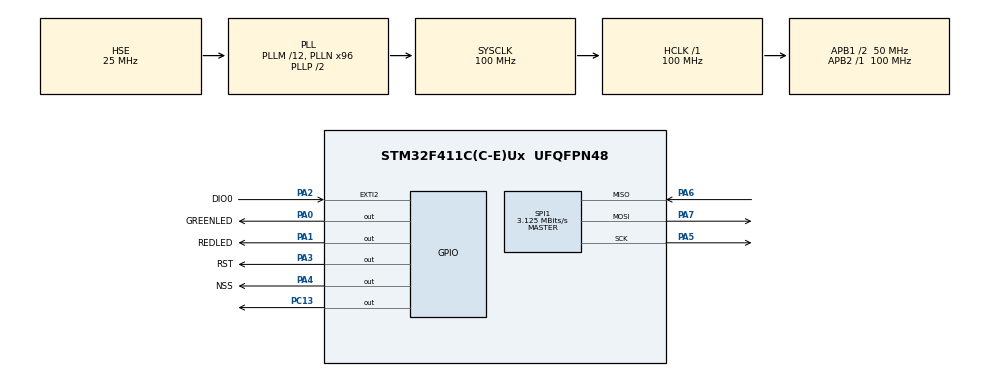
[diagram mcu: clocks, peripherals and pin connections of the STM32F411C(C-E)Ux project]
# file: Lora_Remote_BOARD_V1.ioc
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Mcu.Family=STM32F4
Mcu.Name=STM32F411C(C-E)Ux
Mcu.Package=UFQFPN48
NVIC.EXTI2_IRQn=true\:0\:0\:false\:false\:true\:true\:true\:true
NVIC.PriorityGroup=NVIC_PRIORITYGROUP_4
NVIC.TIM4_IRQn=true\:0\:0\:false\:false\:true\:true\:true\:true
PA0-WKUP.GPIO_Label=GREENLED
PA0-WKUP.Signal=GPIO_Output
PA1.GPIO_Label=REDLED
PA1.Signal=GPIO_Output
PA13.Mode=Serial_Wire
PA13.Signal=SYS_JTMS-SWDIO
PA14.Mode=Serial_Wire
PA14.Signal=SYS_JTCK-SWCLK
PA2.GPIO_Label=DIO0
PA2.Signal=GPXTI2
PA3.GPIO_Label=RST
PA3.PinState=GPIO_PIN_SET
PA3.Signal=GPIO_Output
PA4.GPIO_Label=NSS
PA4.PinState=GPIO_PIN_SET
PA4.Signal=GPIO_Output
PA5.Mode=Full_Duplex_Master
PA5.Signal=SPI1_SCK
PA6.Mode=Full_Duplex_Master
PA6.Signal=SPI1_MISO
PA7.Mode=Full_Duplex_Master
PA7.Signal=SPI1_MOSI
PC13-ANTI_TAMP.Signal=GPIO_Output
PH0\ -\ OSC_IN.Mode=HSE-External-Oscillator
PH0\ -\ OSC_IN.Signal=RCC_OSC_IN
PH1\ -\ OSC_OUT.Mode=HSE-External-Oscillator
PH1\ -\ OSC_OUT.Signal=RCC_OSC_OUT
ProjectManager.HeapSize=0x200
ProjectManager.StackSize=0x400
ProjectManager.TargetToolchain=STM32CubeIDE
RCC.48MHZClocksFreq_Value=50000000
RCC.AHBFreq_Value=100000000
RCC.APB1CLKDivider=RCC_HCLK_DIV2
RCC.APB1Freq_Value=50000000
RCC.APB1TimFreq_Value=100000000
RCC.APB2Freq_Value=100000000
RCC.APB2TimFreq_Value=100000000
RCC.CortexFreq_Value=100000000
RCC.HCLKFreq_Value=100000000
RCC.HSE_VALUE=25000000
RCC.HSI_VALUE=16000000
RCC.LSE_VALUE=32768
RCC.PLLM=12
RCC.PLLN=96
RCC.PLLSourceVirtual=RCC_PLLSOURCE_HSE
RCC.SYSCLKFreq_VALUE=100000000
RCC.SYSCLKSource=RCC_SYSCLKSOURCE_PLLCLK
RCC.VCOOutputFreq_Value=200000000
SPI1.BaudRatePrescaler=SPI_BAUDRATEPRESCALER_32
SPI1.CalculateBaudRate=3.125 MBits/s
SPI1.Direction=SPI_DIRECTION_2LINES
SPI1.Mode=SPI_MODE_MASTER
SPI1.VirtualType=VM_MASTER
TIM4.AutoReloadPreload=TIM_AUTORELOAD_PRELOAD_ENABLE
TIM4.ClockDivision=TIM_CLOCKDIVISION_DIV1
TIM4.Period=32000-1
TIM4.Prescaler=320-1
VP_TIM4_VS_ClockSourceINT.Mode=Internal
board=custom

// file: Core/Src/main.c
/* USER CODE BEGIN Header */
/**
  ******************************************************************************
  * @file           : main.c
  * @brief          : Main program body
  ******************************************************************************
  * @attention
  *
  * Copyright (c) 2024 STMicroelectronics.
  * All rights reserved.
  *
  * This software is licensed under terms that can be found in the LICENSE file
  * in the root directory of this software component.
  * If no LICENSE file comes with this software, it is provided AS-IS.
  *
  ******************************************************************************
  */
/* USER CODE END Header */
#include "main.h"

/* USER CODE BEGIN Includes */

#include "stm32_adafruit_lcd.h"
#include "lcd.h"

#include "LoRa.h"

/* USER CODE END Includes */

SPI_HandleTypeDef hspi1;

TIM_HandleTypeDef htim4;

/* USER CODE BEGIN PV */

uint8_t test_buffer[32] = "hello how are yoy";

float last_x;

LoRa myLoRa;

uint16_t LoRa_stat = 0;

uint8_t TxBuffer[128];
uint8_t RxBuffer[128];

uint8_t check_connectivity_tick = 0;
uint8_t receive_tick = 0;

uint8_t front_line_sensor_buffer[10];
uint8_t front_line_display_buffer[30];

uint8_t back_line_sensor_buffer[10];
uint8_t back_line_display_buffer[30];

uint8_t last_buffer[32];

uint16_t tval = 0;

/* USER CODE END PV */

void SystemClock_Config(void);
static void MX_GPIO_Init(void);
static void MX_SPI1_Init(void);
static void MX_TIM4_Init(void);

/* USER CODE BEGIN 0 */

void HAL_TIM_PeriodElapsedCallback(TIM_HandleTypeDef *htim)
{
 if(htim->Instance == TIM4)
	{
	 	 check_connectivity_tick = 255;
	}
}

void HAL_GPIO_EXTI_Callback(uint16_t GPIO_Pin)
{
	if(GPIO_Pin == myLoRa.DIO0_pin){
		LoRa_receive(&myLoRa, RxBuffer, 128);
		HAL_GPIO_TogglePin(GREENLED_GPIO_Port, GREENLED_Pin);
		receive_tick = 255;
	}
}

/* USER CODE END 0 */

int main(void)
{

  /* MCU Configuration--------------------------------------------------------*/

  /* Reset of all peripherals, Initializes the Flash interface and the Systick. */
  HAL_Init();

  /* Configure the system clock */
  SystemClock_Config();

  /* Initialize all configured peripherals */
  MX_GPIO_Init();
  MX_SPI1_Init();
  MX_TIM4_Init();
  /* USER CODE BEGIN 2 */

  HAL_TIM_Base_Start_IT(&htim4);

  BSP_LCD_Init();

  myLoRa = newLoRa();

  myLoRa.CS_port         = NSS_GPIO_Port;
  myLoRa.CS_pin          = NSS_Pin;
  myLoRa.reset_port      = RST_GPIO_Port;
  myLoRa.reset_pin       = RST_Pin;
  myLoRa.DIO0_port       = DIO0_GPIO_Port;
  myLoRa.DIO0_pin        = DIO0_Pin;
  myLoRa.hSPIx           = &hspi1;

  myLoRa.frequency             = 433;             // default = 433 MHz
  myLoRa.spredingFactor        = SF_7;            // default = SF_7
  myLoRa.bandWidth             = BW_125KHz;       // default = BW_125KHz
  myLoRa.crcRate               = CR_4_5;          // default = CR_4_5
  myLoRa.power                 = POWER_20db;      // default = 20db
  myLoRa.overCurrentProtection = 100;             // default = 100 mA
  myLoRa.preamble              = 8;              // default = 8;

  if(LoRa_init(&myLoRa) == LORA_OK){
	  LoRa_stat = 1;
  }

  LoRa_startReceiving(&myLoRa);

  TxBuffer[0] = 45;
  TxBuffer[1] = 0xF2;
  TxBuffer[2] = 'G';

  LoRa_transmit(&myLoRa, TxBuffer, 3, 500);

  /* USER CODE END 2 */

  /* Infinite loop */
  /* USER CODE BEGIN WHILE */

  BSP_LCD_Clear(0x0);

  //HAL_GPIO_TogglePin(REDLED_GPIO_Port, REDLED_Pin);

  while (1)
  {

	  if(check_connectivity_tick == 255){
		  TxBuffer[0] = 0xAA;
		  TxBuffer[1] = 0xBB;
		  TxBuffer[2] = 0xCC;
		  if(LoRa_transmit(&myLoRa, TxBuffer, 3, 500) == 1){
			  HAL_GPIO_TogglePin(REDLED_GPIO_Port, REDLED_Pin);
		  }
		  check_connectivity_tick = 0;
	  }
	  if(receive_tick == 255){
//		  front_line_sensor_buffer[0] = RxBuffer[4];
//		  front_line_sensor_buffer[1] = RxBuffer[5];
//		  front_line_sensor_buffer[2] = RxBuffer[6];
//		  front_line_sensor_buffer[3] = RxBuffer[7];
//		  front_line_sensor_buffer[4] = RxBuffer[8];
//		  front_line_sensor_buffer[5] = RxBuffer[9];
//		  front_line_sensor_buffer[6] = RxBuffer[10];
//		  front_line_sensor_buffer[7] = RxBuffer[11];
//		  front_line_sensor_buffer[8] = RxBuffer[12];
//		  front_line_sensor_buffer[9] = RxBuffer[13];
//
//		  back_line_sensor_buffer[0] = RxBuffer[16];
//		  back_line_sensor_buffer[1] = RxBuffer[17];
//		  back_line_sensor_buffer[2] = RxBuffer[18];
//		  back_line_sensor_buffer[3] = RxBuffer[19];
//		  back_line_sensor_buffer[4] = RxBuffer[20];
//		  back_line_sensor_buffer[5] = RxBuffer[21];
//		  back_line_sensor_buffer[6] = RxBuffer[22];
//		  back_line_sensor_buffer[7] = RxBuffer[23];
//		  back_line_sensor_buffer[8] = RxBuffer[24];
//		  back_line_sensor_buffer[9] = RxBuffer[25];

		  receive_tick = 0;
	  }

	  BSP_LCD_SetFont(&Font16);

	  BSP_LCD_SetTextColor(LCD_COLOR_GREEN);
	  sprintf(front_line_display_buffer, "F00F|%d|%d|%d|%d|%d|%d|%d|%d|%d|%d|", front_line_sensor_buffer[0],
			  	  	  	  	  	  	  	  	  	  	  	  	  	  	  	  	  	front_line_sensor_buffer[1],
																				front_line_sensor_buffer[2],
																				front_line_sensor_buffer[3],
																				front_line_sensor_buffer[4],
																				front_line_sensor_buffer[5],
																				front_line_sensor_buffer[6],
																				front_line_sensor_buffer[7],
																				front_line_sensor_buffer[8],
																				front_line_sensor_buffer[9]);
	  BSP_LCD_DisplayStringAt(40, 10, front_line_display_buffer, LEFT_MODE);

	  sprintf(back_line_display_buffer, "F11F|%d|%d|%d|%d|%d|%d|%d|%d|%d|%d|", back_line_sensor_buffer[0],
			  	  	  	  	  	  	  	  	  	  	  	  	  	  	  	  	   back_line_sensor_buffer[1],
																			   back_line_sensor_buffer[2],
																			   back_line_sensor_buffer[3],
																			   back_line_sensor_buffer[4],
																			   back_line_sensor_buffer[5],
																			   back_line_sensor_buffer[6],
																			   back_line_sensor_buffer[7],
																			   back_line_sensor_buffer[8],
																			   back_line_sensor_buffer[9]);
	  BSP_LCD_DisplayStringAt(40, 40, back_line_display_buffer, LEFT_MODE);

    /* USER CODE END WHILE */

  }
}

void SystemClock_Config(void)
{
  RCC_OscInitTypeDef RCC_OscInitStruct = {0};
  RCC_ClkInitTypeDef RCC_ClkInitStruct = {0};

  /** Configure the main internal regulator output voltage
  */
  __HAL_RCC_PWR_CLK_ENABLE();
  __HAL_PWR_VOLTAGESCALING_CONFIG(PWR_REGULATOR_VOLTAGE_SCALE1);

  /** Initializes the RCC Oscillators according to the specified parameters
  * in the RCC_OscInitTypeDef structure.
  */
  RCC_OscInitStruct.OscillatorType = RCC_OSCILLATORTYPE_HSE;
  RCC_OscInitStruct.HSEState = RCC_HSE_ON;
  RCC_OscInitStruct.PLL.PLLState = RCC_PLL_ON;
  RCC_OscInitStruct.PLL.PLLSource = RCC_PLLSOURCE_HSE;
  RCC_OscInitStruct.PLL.PLLM = 12;
  RCC_OscInitStruct.PLL.PLLN = 96;
  RCC_OscInitStruct.PLL.PLLP = RCC_PLLP_DIV2;
  RCC_OscInitStruct.PLL.PLLQ = 4;
  if (HAL_RCC_OscConfig(&RCC_OscInitStruct) != HAL_OK)
  {
    Error_Handler();
  }

  /** Initializes the CPU, AHB and APB buses clocks
  */
  RCC_ClkInitStruct.ClockType = RCC_CLOCKTYPE_HCLK|RCC_CLOCKTYPE_SYSCLK
                              |RCC_CLOCKTYPE_PCLK1|RCC_CLOCKTYPE_PCLK2;
  RCC_ClkInitStruct.SYSCLKSource = RCC_SYSCLKSOURCE_PLLCLK;
  RCC_ClkInitStruct.AHBCLKDivider = RCC_SYSCLK_DIV1;
  RCC_ClkInitStruct.APB1CLKDivider = RCC_HCLK_DIV2;
  RCC_ClkInitStruct.APB2CLKDivider = RCC_HCLK_DIV1;

  if (HAL_RCC_ClockConfig(&RCC_ClkInitStruct, FLASH_LATENCY_3) != HAL_OK)
  {
    Error_Handler();
  }
}

static void MX_SPI1_Init(void)
{

  /* SPI1 parameter configuration*/
  hspi1.Instance = SPI1;
  hspi1.Init.Mode = SPI_MODE_MASTER;
  hspi1.Init.Direction = SPI_DIRECTION_2LINES;
  hspi1.Init.DataSize = SPI_DATASIZE_8BIT;
  hspi1.Init.CLKPolarity = SPI_POLARITY_LOW;
  hspi1.Init.CLKPhase = SPI_PHASE_1EDGE;
  hspi1.Init.NSS = SPI_NSS_SOFT;
  hspi1.Init.BaudRatePrescaler = SPI_BAUDRATEPRESCALER_32;
  hspi1.Init.FirstBit = SPI_FIRSTBIT_MSB;
  hspi1.Init.TIMode = SPI_TIMODE_DISABLE;
  hspi1.Init.CRCCalculation = SPI_CRCCALCULATION_DISABLE;
  hspi1.Init.CRCPolynomial = 10;
  if (HAL_SPI_Init(&hspi1) != HAL_OK)
  {
    Error_Handler();
  }

}

static void MX_TIM4_Init(void)
{

  TIM_ClockConfigTypeDef sClockSourceConfig = {0};
  TIM_MasterConfigTypeDef sMasterConfig = {0};

  htim4.Instance = TIM4;
  htim4.Init.Prescaler = 320-1;
  htim4.Init.CounterMode = TIM_COUNTERMODE_UP;
  htim4.Init.Period = 32000-1;
  htim4.Init.ClockDivision = TIM_CLOCKDIVISION_DIV1;
  htim4.Init.AutoReloadPreload = TIM_AUTORELOAD_PRELOAD_ENABLE;
  if (HAL_TIM_Base_Init(&htim4) != HAL_OK)
  {
    Error_Handler();
  }
  sClockSourceConfig.ClockSource = TIM_CLOCKSOURCE_INTERNAL;
  if (HAL_TIM_ConfigClockSource(&htim4, &sClockSourceConfig) != HAL_OK)
  {
    Error_Handler();
  }
  sMasterConfig.MasterOutputTrigger = TIM_TRGO_RESET;
  sMasterConfig.MasterSlaveMode = TIM_MASTERSLAVEMODE_DISABLE;
  if (HAL_TIMEx_MasterConfigSynchronization(&htim4, &sMasterConfig) != HAL_OK)
  {
    Error_Handler();
  }

}

static void MX_GPIO_Init(void)
{
  GPIO_InitTypeDef GPIO_InitStruct = {0};

  /* GPIO Ports Clock Enable */
  __HAL_RCC_GPIOC_CLK_ENABLE();
  __HAL_RCC_GPIOH_CLK_ENABLE();
  __HAL_RCC_GPIOA_CLK_ENABLE();

  /*Configure GPIO pin Output Level */
  HAL_GPIO_WritePin(GPIOC, GPIO_PIN_13, GPIO_PIN_RESET);

  /*Configure GPIO pin Output Level */
  HAL_GPIO_WritePin(GPIOA, GREENLED_Pin|REDLED_Pin, GPIO_PIN_RESET);

  /*Configure GPIO pin Output Level */
  HAL_GPIO_WritePin(GPIOA, RST_Pin|NSS_Pin, GPIO_PIN_SET);

  /*Configure GPIO pin : PC13 */
  GPIO_InitStruct.Pin = GPIO_PIN_13;
  GPIO_InitStruct.Mode = GPIO_MODE_OUTPUT_PP;
  GPIO_InitStruct.Pull = GPIO_NOPULL;
  GPIO_InitStruct.Speed = GPIO_SPEED_FREQ_LOW;
  HAL_GPIO_Init(GPIOC, &GPIO_InitStruct);

  /*Configure GPIO pins : GREENLED_Pin REDLED_Pin RST_Pin NSS_Pin */
  GPIO_InitStruct.Pin = GREENLED_Pin|REDLED_Pin|RST_Pin|NSS_Pin;
  GPIO_InitStruct.Mode = GPIO_MODE_OUTPUT_PP;
  GPIO_InitStruct.Pull = GPIO_NOPULL;
  GPIO_InitStruct.Speed = GPIO_SPEED_FREQ_LOW;
  HAL_GPIO_Init(GPIOA, &GPIO_InitStruct);

  /*Configure GPIO pin : DIO0_Pin */
  GPIO_InitStruct.Pin = DIO0_Pin;
  GPIO_InitStruct.Mode = GPIO_MODE_IT_RISING;
  GPIO_InitStruct.Pull = GPIO_NOPULL;
  HAL_GPIO_Init(DIO0_GPIO_Port, &GPIO_InitStruct);

  /* EXTI interrupt init*/
  HAL_NVIC_SetPriority(EXTI2_IRQn, 0, 0);
  HAL_NVIC_EnableIRQ(EXTI2_IRQn);

}

void Error_Handler(void)
{
  __disable_irq();
  while (1)
  {
  }
}
